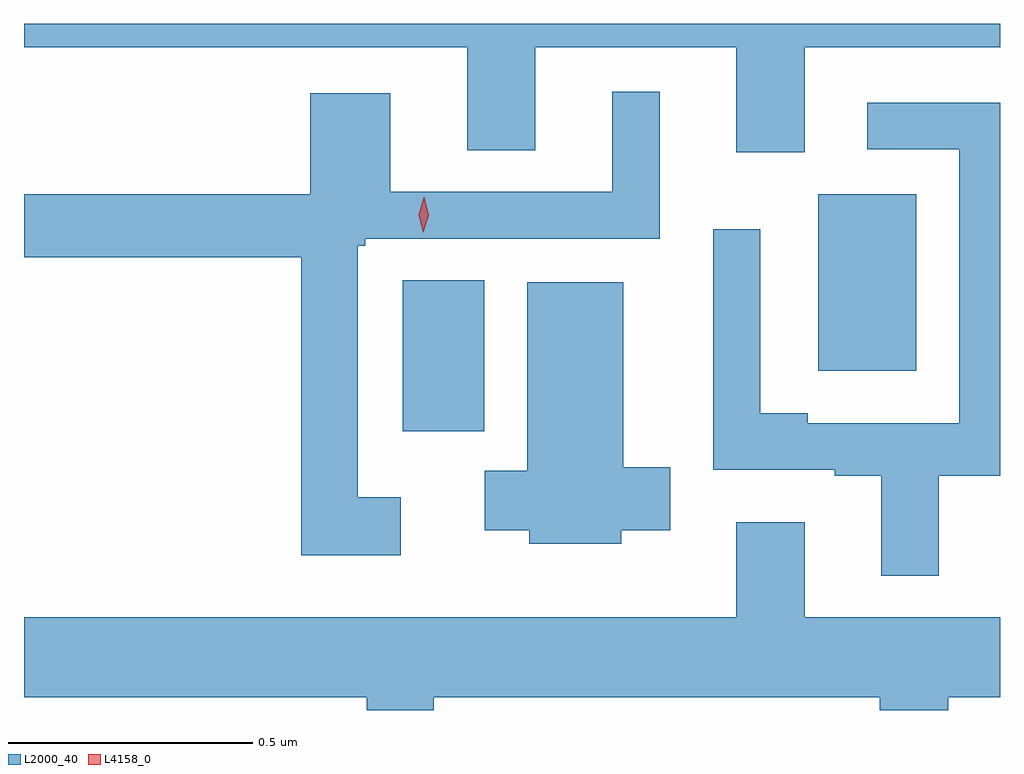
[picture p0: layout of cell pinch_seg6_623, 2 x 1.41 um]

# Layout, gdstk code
import gdstk
lib = gdstk.Library(unit=1e-6, precision=1e-09)
def R(c, l, rs):  # rectangles x0, y0, x1, y1
    for r in rs: c.add(gdstk.rectangle(r[:2], r[2:], *l))
def P(c, l, *ps):  # polygons
    for p in ps: c.add(gdstk.Polygon(p, *l))
L2000_40 = (2000, 40)
L4158_0 = (4158, 0)

pinch_seg6_623 = lib.new_cell('pinch_seg6_623')
R(pinch_seg6_623, L2000_40, [(450.149,997.165,450.316,997.475), (451.001,997.289,451.201,997.651)])
P(pinch_seg6_623, L2000_40, [(450.973,997.952),(451.373,997.952),(451.373,998),(449.373,998),(449.373,997.952),(450.281,997.952),(450.281,997.741),(450.421,997.741),(450.421,997.952),(450.833,997.952),(450.833,997.737),(450.973,997.737)],
  [(450.145,997.03),(450.057,997.03),(450.057,997.545),(450.072,997.545),(450.072,997.56),(450.676,997.56),(450.676,997.861),(450.578,997.861),(450.578,997.656),(450.124,997.656),(450.124,997.858),(449.96,997.858),(449.96,997.651),(449.373,997.651),(449.373,997.522),(449.941,997.522),(449.941,996.911),(450.145,996.911)],
  [(451.247,997.074),(451.373,997.074),(451.373,997.839),(451.101,997.839),(451.101,997.743),(451.29,997.743),(451.29,997.182),(450.979,997.182),(450.979,997.202),(450.882,997.202),(450.882,997.579),(450.785,997.579),(450.785,997.086),(451.034,997.086),(451.034,997.074),(451.13,997.074),(451.13,996.869),(451.247,996.869)],
  [(450.597,996.962),(450.697,996.962),(450.697,997.092),(450.601,997.092),(450.601,997.471),(450.404,997.471),(450.404,997.084),(450.317,997.084),(450.317,996.962),(450.408,996.962),(450.408,996.935),(450.597,996.935)],
  [(450.213,996.62),(451.127,996.62),(451.127,996.594),(451.267,996.594),(451.267,996.62),(451.373,996.62),(451.373,996.784),(450.973,996.784),(450.973,996.979),(450.833,996.979),(450.833,996.784),(449.373,996.784),(449.373,996.62),(450.075,996.62),(450.075,996.594),(450.213,996.594)])
P(pinch_seg6_623, L4158_0, [(450.191,997.573),(450.191,997.573),(450.182,997.609),(450.192,997.644),(450.193,997.645),(450.193,997.644),(450.202,997.608),(450.191,997.573)])

lib.write_gds('pinch_seg6_623.gds')
